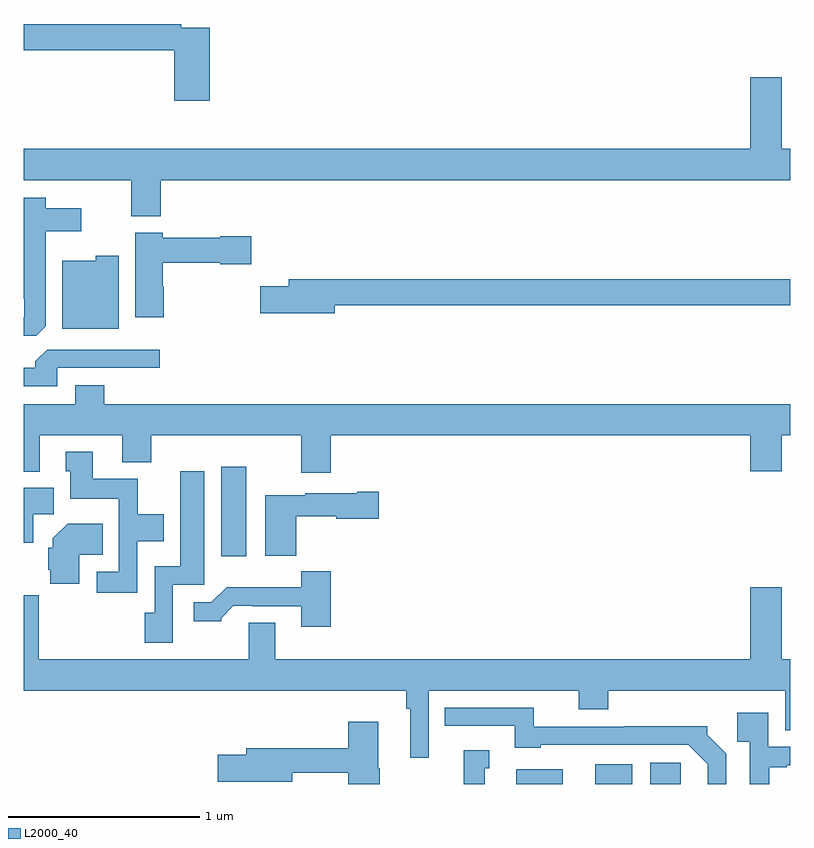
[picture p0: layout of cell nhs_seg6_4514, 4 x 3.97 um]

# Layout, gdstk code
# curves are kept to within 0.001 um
import gdstk
lib = gdstk.Library(unit=1e-6, precision=1e-09)
def R(c, l, rs):  # rectangles x0, y0, x1, y1
    for r in rs: c.add(gdstk.rectangle(r[:2], r[2:], *l))
def P(c, l, *ps):  # polygons
    for p in ps: c.add(gdstk.Polygon(p, *l))
L2000_40 = (2000, 40)

nhs_seg6_4514 = lib.new_cell('nhs_seg6_4514')
R(nhs_seg6_4514, L2000_40, [(379.571,961.5,379.813,961.576), (379.982,961.5,380.176,961.602), (380.271,961.5,380.428,961.612), (378.029,962.688,378.16,963.157)])
P(nhs_seg6_4514, L2000_40, [(377.969,965.448),(377.822,965.448),(377.822,965.468),(377,965.468),(377,965.332),(377.786,965.332),(377.786,965.067),(377.969,965.067)],
  [(377.714,964.652),(381,964.652),(381,964.816),(380.956,964.816),(380.956,965.191),(380.792,965.191),(380.792,964.816),(377,964.816),(377,964.652),(377.561,964.652),(377.561,964.463),(377.714,964.463)],
  [(377.113,963.889),(377.113,964.385),(377.299,964.385),(377.299,964.507),(377.113,964.507),(377.113,964.561),(377,964.561),(377,963.84),(377.064,963.84)],
  [(377.729,964.097),(377.724,964.097),(377.724,964.222),(378.024,964.222),(378.024,964.214),(378.187,964.214),(378.187,964.359),(378.024,964.359),(378.024,964.351),(377.724,964.351),(377.724,964.378),(377.582,964.378),(377.582,963.936),(377.729,963.936)],
  [(377.494,964.258),(377.376,964.258),(377.376,964.231),(377.201,964.231),(377.201,963.878),(377.494,963.878)],
  [(378.622,964),(381,964),(381,964.136),(378.383,964.136),(378.383,964.1),(378.234,964.1),(378.234,963.958),(378.622,963.958)],
  [(377.175,963.672),(377.71,963.672),(377.71,963.768),(377.121,963.768),(377.06,963.706),(377.06,963.672),(377,963.672),(377,963.576),(377.175,963.576)],
  [(378.602,963.32),(380.792,963.32),(380.792,963.132),(380.956,963.132),(380.956,963.32),(381,963.32),(381,963.484),(377.42,963.484),(377.42,963.583),(377.267,963.583),(377.267,963.484),(377,963.484),(377,963.131),(377.083,963.131),(377.083,963.32),(377.513,963.32),(377.513,963.179),(377.666,963.179),(377.666,963.32),(378.449,963.32),(378.449,963.126),(378.602,963.126)],
  [(377.592,962.768),(377.731,962.768),(377.731,962.908),(377.595,962.908),(377.595,963.094),(377.359,963.094),(377.359,963.235),(377.219,963.235),(377.219,963.132),(377.243,963.132),(377.243,962.99),(377.496,962.99),(377.496,962.607),(377.379,962.607),(377.379,962.499),(377.592,962.499)],
  [(377.778,962.541),(377.941,962.541),(377.941,963.133),(377.816,963.133),(377.816,962.638),(377.682,962.638),(377.682,962.394),(377.63,962.394),(377.63,962.238),(377.778,962.238)],
  [(377.049,962.908),(377.155,962.908),(377.155,963.046),(377,963.046),(377,962.76),(377.049,962.76)],
  [(378.422,962.897),(378.63,962.897),(378.63,962.885),(378.853,962.885),(378.853,963.027),(378.74,963.027),(378.74,963.019),(378.468,963.019),(378.468,963.007),(378.26,963.007),(378.26,962.693),(378.422,962.693)],
  [(377.29,962.696),(377.411,962.696),(377.411,962.86),(377.228,962.86),(377.15,962.782),(377.15,962.733),(377.126,962.733),(377.126,962.619),(377.138,962.619),(377.138,962.546),(377.29,962.546)],
  [(378.602,962.611),(378.447,962.611),(378.447,962.527),(378.058,962.527),(377.979,962.448),(377.886,962.448),(377.886,962.351),(378.03,962.351),(378.03,962.366),(378.094,962.43),(378.193,962.43),(378.193,962.427),(378.449,962.427),(378.449,962.322),(378.602,962.322)],
  [(379.113,961.988),(379.898,961.988),(379.898,961.889),(380.051,961.889),(380.051,961.988),(380.975,961.988),(380.975,961.78),(381,961.78),(381,962.152),(380.956,962.152),(380.956,962.527),(380.792,962.527),(380.792,962.152),(378.313,962.152),(378.313,962.342),(378.173,962.342),(378.173,962.152),(377.078,962.152),(377.078,962.485),(377,962.485),(377,961.988),(378.997,961.988),(378.997,961.892),(379.016,961.892),(379.016,961.638),(379.113,961.638)],
  [(380.667,961.658),(380.568,961.757),(380.568,961.802),(380.134,961.802),(380.134,961.8),(379.662,961.8),(379.662,961.899),(379.198,961.899),(379.198,961.803),(379.562,961.803),(379.562,961.688),(379.698,961.688),(379.698,961.704),(380.469,961.704),(380.57,961.603),(380.57,961.5),(380.667,961.5)],
  [(380.891,961.587),(380.983,961.587),(380.983,961.599),(381,961.599),(381,961.695),(380.886,961.695),(380.886,961.873),(380.725,961.873),(380.725,961.721),(380.79,961.721),(380.79,961.5),(380.891,961.5)],
  [(378.858,961.581),(378.85,961.581),(378.85,961.825),(378.692,961.825),(378.692,961.687),(378.161,961.687),(378.161,961.653),(378.012,961.653),(378.012,961.511),(378.4,961.511),(378.4,961.558),(378.692,961.558),(378.692,961.5),(378.858,961.5)],
  [(379.405,961.581),(379.429,961.581),(379.429,961.675),(379.296,961.675),(379.296,961.5),(379.405,961.5)])

lib.write_gds('nhs_seg6_4514.gds')
